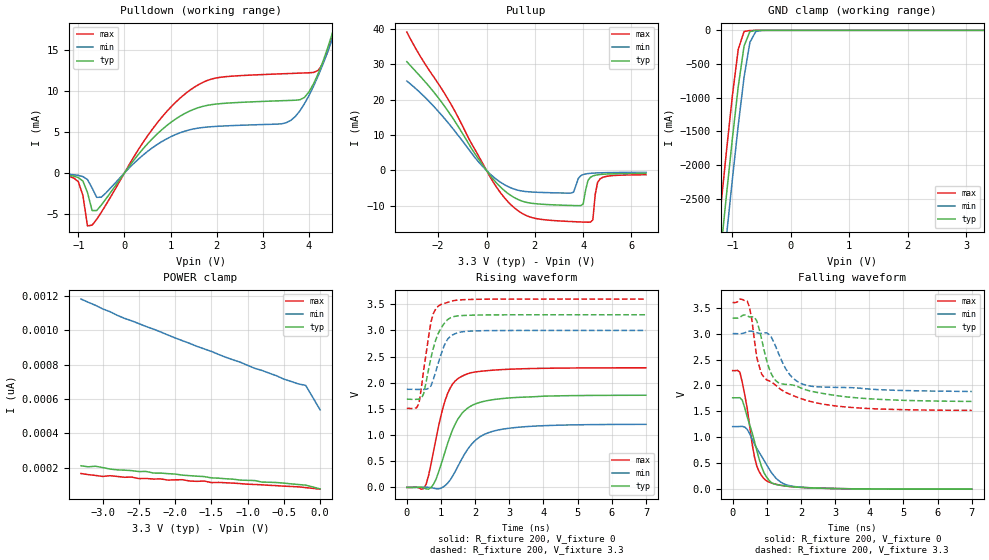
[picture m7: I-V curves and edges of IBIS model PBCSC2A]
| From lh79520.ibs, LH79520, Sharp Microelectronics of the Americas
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[Model]   PBCSC2A
Model_type I/O
Enable Active-High
Polarity Non-Inverting
Vinh=2.0
Vinl=0.8
Vmeas=1.65
C_comp   3.0pF   3.0pF   3.0pF
[Model Spec]
[Temperature Range] 25   85   -40
[Voltage Range]   3.3   3.0   3.6
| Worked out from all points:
|   slope of the pulldown table from 0 to 0.495 V, typ, clamps not added: 141 ohm
|   slope of the pullup table from 0 to 0.495 V, typ, clamps not added: 120 ohm
|   GND clamp passes 1 mA (typ) near -0.59 V on its own axis
|   falling waveform, R_fixture 200, V_fixture 0: 20-80 % time 476ps typ, 660ps min, 351ps max; typ from 1.76 V to 0 V
|   falling waveform, R_fixture 200, V_fixture 3.3: 20-80 % time 891ps typ, 588ps min, 806ps max; typ from 3.3 V to 1.69 V
|   rising waveform, R_fixture 200, V_fixture 0: 20-80 % time 649ps typ, 775ps min, 506ps max; typ from 0 V to 1.76 V
|   rising waveform, R_fixture 200, V_fixture 3.3: 20-80 % time 384ps typ, 346ps min, 285ps max; typ from 1.69 V to 3.3 V
[Pullup]
-3.3V     30.71mA    25.25mA    39.06mA
-1.8V     18.72mA    15.16mA    22.43mA
300mV     -2.646mA   -1.9mA     -3.514mA
1.5V      -8.703mA   -5.833mA   -12.21mA
3.5V      -9.872mA   -6.366mA   -14.41mA
3.9V      -9.906mA   -1.479mA   -14.53mA
4V        -9.458mA   -1.151mA   -14.56mA
4.3V      -1.931mA   -800.1uA   -14.57mA
4.4V      -1.552mA   -749.7uA   -13.99mA
4.5V      -1.348mA   -712.1uA   -6.734mA
4.7V      -1.137mA   -660uA     -2.369mA
6.6V      -817uA     -528uA     -1.197mA
[Pulldown]
-3.3V     -40uA      -26uA      -50uA
-1.1V     -374.3uA   -211.1uA   -602.8uA
-900mV    -981.2uA   -437.4uA   -2.71mA
-800mV    -2.388mA   -796.4uA   -6.449mA
-700mV    -4.573mA   -1.826mA   -6.357mA
-500mV    -3.906mA   -2.949mA   -4.786mA
600mV     4.15mA     3.047mA    5.297mA
1.6V      7.96mA     5.474mA    10.75mA
3.6V      8.849mA    6.392mA    12.13mA
4.2V      12.13mA    11.87mA    12.51mA
4.6V      18.85mA    17.9mA     18.55mA
6.6V      74.92mA    61.12mA    89.92mA
[GND Clamp]
-3.3V     -22.33A    -22.9A     -21.74A
-1.3V     -4.165A    -4.777A    -3.514A
-1.2V     -3.293A    -3.906A    -2.639A
-1.1V     -2.437A    -3.049A    -1.785A
-1V       -1.608A    -2.213A    -971.6mA
-900mV    -838.5mA   -1.415A    -282.7mA
-800mV    -231.2mA   -694.6mA   -16.39mA
-700mV    -18.3mA    -177.3mA   -2.444mA
-600mV    -1.112mA   -18.02mA   -425.1uA
-400mV    -3.806uA   -62.61uA   -948.1nA
3.3V      76.94pA    688.2pA    69.86pA
[POWER Clamp]
-3.3V     211.3pA    1.182nA    166.3pA
-3.2V     205.3pA    1.163nA    159.8pA
-3.1V     208.6pA    1.145nA    155.1pA
-3V       200.7pA    1.124nA    149.2pA
-2.9V     192.3pA    1.109nA    153.4pA
-2.7V     185.8pA    1.07nA     144.3pA
-2.1V     165.5pA    972.5pA    128pA
-1.9V     156.9pA    939.5pA    130.2pA
-1.7V     150.7pA    906.5pA    120.7pA
-500mV    110.3pA    715.5pA    92.74pA
-200mV    98.72pA    679.7pA    84.3pA
0V        76.68pA    536.8pA    75.15pA
[Falling Waveform]
R_fixture=200
V_fixture=0
V_fixture_min=0
V_fixture_max=0
0s        1.763V     1.207V     2.287V
212.1ps   1.764V     1.209V     2.256V
424.2ps   1.4V       1.155V     1.568V
565.7ps   1.099V     972.9mV    892.5mV
707.1ps   745.4mV    785.3mV    446.7mV
919.2ps   314.7mV    556mV      201.2mV
1.061ns   173.6mV    398.2mV    138.1mV
1.414ns   73.99mV    132.5mV    73.98mV
1.909ns   38.61mV    43.76mV    38.2mV
7ns       220.5uV    243.9uV    252.2uV
[Falling Waveform]
R_fixture=200
V_fixture=3.3
V_fixture_min=3.0
V_fixture_max=3.6
0s        3.3V       3V         3.6V
424.2ps   3.341V     3.034V     3.629V
494.9ps   3.322V     3.048V     3.508V
636.4ps   3.318V     3.032V     2.878V
707.1ps   3.245V     3.016V     2.54V
848.5ps   2.891V     3.006V     2.222V
1.131ns   2.227V     2.934V     2.07V
1.556ns   2.021V     2.32V      1.866V
2.333ns   1.883V     1.983V     1.683V
7ns       1.692V     1.884V     1.52V
[Rising Waveform]
R_fixture=200
V_fixture=0
V_fixture_min=0
V_fixture_max=0
0s        0V         0V         0V
424.2ps   1.332mV    1.966mV    -33.83mV
565.7ps   -28.9mV    3.402mV    62.13mV
848.5ps   146.2mV    -24.88mV   911.8mV
1.131ns   708.1mV    40.48mV    1.681V
1.343ns   1.109V     219mV      1.978V
1.626ns   1.425V     563.4mV    2.128V
2.121ns   1.622V     957.9mV    2.216V
2.758ns   1.696V     1.108V     2.251V
7ns       1.761V     1.206V     2.286V
[Rising Waveform]
R_fixture=200
V_fixture=3.3
V_fixture_min=3.0
V_fixture_max=3.6
0s        1.685V     1.875V     1.511V
282.8ps   1.684V     1.872V     1.521V
353.5ps   1.686V     1.871V     1.599V
494.9ps   1.796V     1.872V     2.254V
707.1ps   2.475V     1.939V     3.163V
848.5ps   2.824V     2.216V     3.413V
989.9ps   3.03V      2.521V     3.494V
1.202ns   3.211V     2.84V      3.539V
1.626ns   3.285V     2.975V     3.587V
7ns       3.3V       3V         3.6V
[Ramp]
R_load=200
dV/dt_r   1.057E+0/6.451E-10   7.234E-1/7.739E-10   1.372E+0/5.054E-10
dV/dt_f   9.647E-1/8.923E-10   6.699E-1/5.855E-10   1.248E+0/8.041E-10
|[End   PBCSC2A
